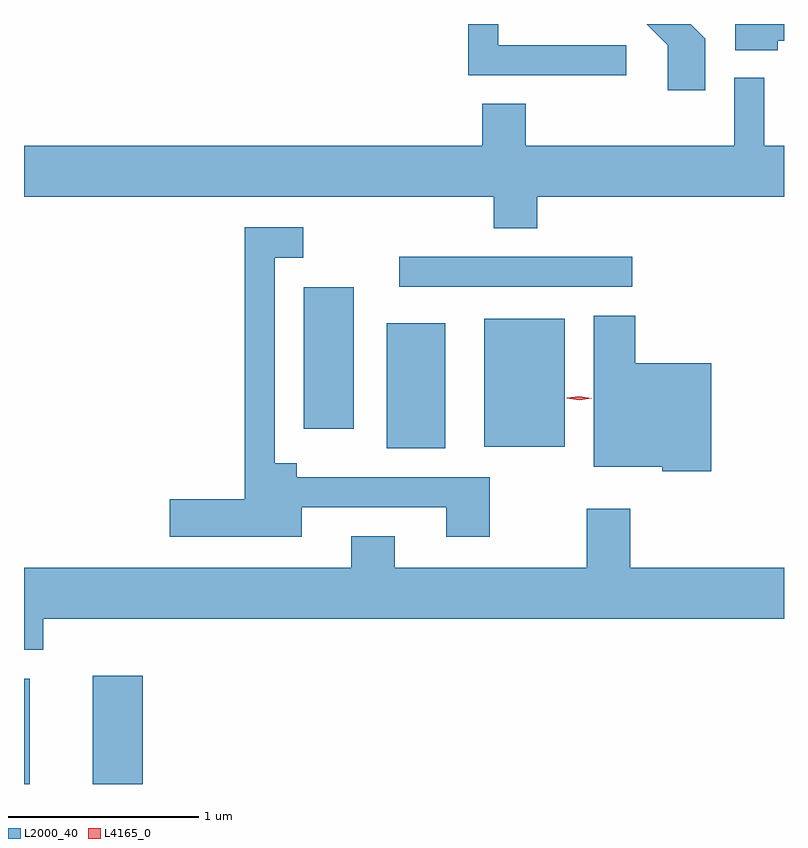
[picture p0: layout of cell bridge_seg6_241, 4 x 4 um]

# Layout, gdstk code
import gdstk
lib = gdstk.Library(unit=1e-6, precision=1e-09)
def R(c, l, rs):  # rectangles x0, y0, x1, y1
    for r in rs: c.add(gdstk.rectangle(r[:2], r[2:], *l))
def P(c, l, *ps):  # polygons
    for p in ps: c.add(gdstk.Polygon(p, *l))
L2000_40 = (2000, 40)
L4165_0 = (4165, 0)

bridge_seg6_241 = lib.new_cell('bridge_seg6_241')
R(bridge_seg6_241, L2000_40, [(1404.788,1584.685,1404.819,1585.239), (1405.151,1584.685,1405.414,1585.254), (1406.696,1586.451,1407.004,1587.109), (1407.211,1586.461,1407.634,1587.134), (1406.261,1586.556,1406.524,1587.299), (1406.763,1587.301,1407.988,1587.459)])
P(bridge_seg6_241, L2000_40, [(1407.958,1588.574),(1407.284,1588.574),(1407.284,1588.685),(1407.126,1588.685),(1407.126,1588.416),(1407.958,1588.416)],
  [(1408.754,1588.596),(1408.788,1588.596),(1408.788,1588.685),(1408.531,1588.685),(1408.531,1588.546),(1408.754,1588.546)],
  [(1408.374,1588.607),(1408.296,1588.685),(1408.065,1588.685),(1408.176,1588.574),(1408.176,1588.336),(1408.374,1588.336)],
  [(1407.489,1587.776),(1408.788,1587.776),(1408.788,1588.044),(1408.684,1588.044),(1408.684,1588.403),(1408.526,1588.403),(1408.526,1588.044),(1407.429,1588.044),(1407.429,1588.264),(1407.201,1588.264),(1407.201,1588.044),(1404.788,1588.044),(1404.788,1587.776),(1407.261,1587.776),(1407.261,1587.611),(1407.489,1587.611)],
  [(1406.249,1586.141),(1407.011,1586.141),(1407.011,1585.986),(1407.239,1585.986),(1407.239,1586.299),(1406.224,1586.299),(1406.224,1586.374),(1406.109,1586.374),(1406.109,1587.456),(1406.258,1587.456),(1406.258,1587.614),(1405.951,1587.614),(1405.951,1586.184),(1405.556,1586.184),(1405.556,1585.986),(1406.249,1585.986)],
  [(1408.404,1586.899),(1408.004,1586.899),(1408.004,1587.149),(1407.786,1587.149),(1407.786,1586.356),(1408.146,1586.356),(1408.146,1586.331),(1408.404,1586.331)],
  [(1404.889,1585.556),(1408.788,1585.556),(1408.788,1585.824),(1407.979,1585.824),(1407.979,1586.134),(1407.751,1586.134),(1407.751,1585.824),(1406.739,1585.824),(1406.739,1585.989),(1406.511,1585.989),(1406.511,1585.824),(1404.788,1585.824),(1404.788,1585.391),(1404.889,1585.391)])
P(bridge_seg6_241, L4165_0, [(1407.71,1586.706),(1407.644,1586.716),(1407.644,1586.716),(1407.644,1586.717),(1407.71,1586.726),(1407.776,1586.716),(1407.776,1586.715),(1407.776,1586.715)])

lib.write_gds('bridge_seg6_241.gds')
